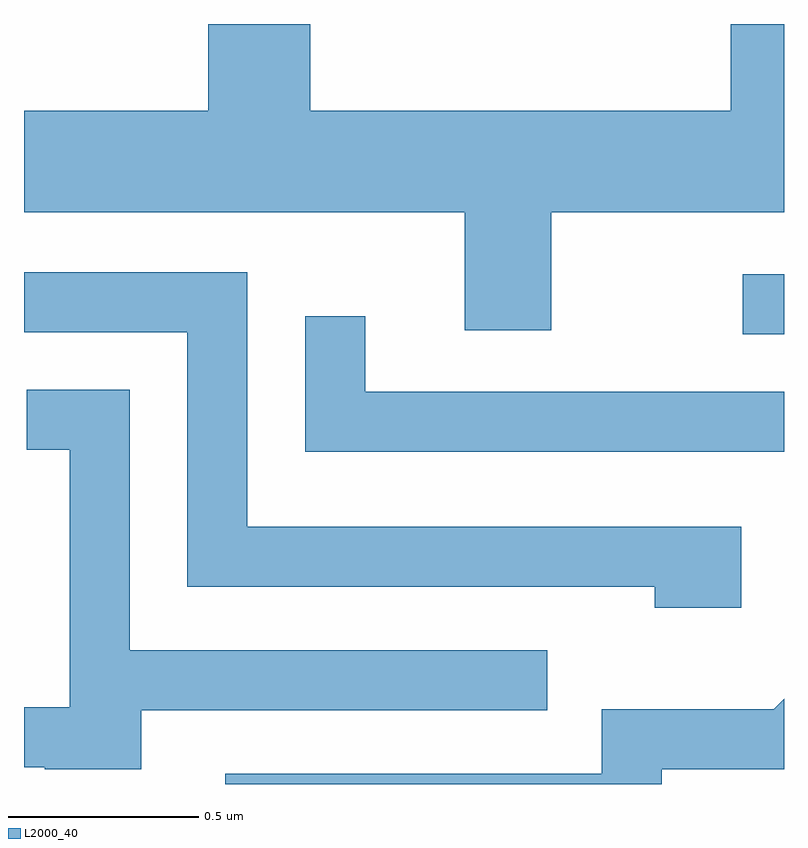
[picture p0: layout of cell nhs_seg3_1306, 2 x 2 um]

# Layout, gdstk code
import gdstk
lib = gdstk.Library(unit=1e-6, precision=1e-09)
def R(c, l, rs):  # rectangles x0, y0, x1, y1
    for r in rs: c.add(gdstk.rectangle(r[:2], r[2:], *l))
def P(c, l, *ps):  # polygons
    for p in ps: c.add(gdstk.Polygon(p, *l))
L2000_40 = (2000, 40)

nhs_seg3_1306 = lib.new_cell('nhs_seg3_1306')
R(nhs_seg3_1306, L2000_40, [(196.503,1190.076,196.611,1190.234)])
P(nhs_seg3_1306, L2000_40, [(195.999,1190.396),(196.611,1190.396),(196.611,1190.892),(196.471,1190.892),(196.471,1190.664),(195.364,1190.664),(195.364,1190.892),(195.096,1190.892),(195.096,1190.664),(194.611,1190.664),(194.611,1190.396),(195.771,1190.396),(195.771,1190.086),(195.999,1190.086)],
  [(196.499,1189.569),(195.199,1189.569),(195.199,1190.239),(194.611,1190.239),(194.611,1190.081),(195.041,1190.081),(195.041,1189.411),(196.271,1189.411),(196.271,1189.356),(196.499,1189.356)],
  [(196.611,1189.924),(195.509,1189.924),(195.509,1190.123),(195.351,1190.123),(195.351,1189.766),(196.611,1189.766)],
  [(194.919,1189.086),(195.988,1189.086),(195.988,1189.244),(194.889,1189.244),(194.889,1189.929),(194.618,1189.929),(194.618,1189.771),(194.731,1189.771),(194.731,1189.094),(194.611,1189.094),(194.611,1188.936),(194.665,1188.936),(194.665,1188.931),(194.919,1188.931)],
  [(196.289,1188.931),(196.611,1188.931),(196.611,1189.116),(196.584,1189.089),(196.131,1189.089),(196.131,1188.919),(195.141,1188.919),(195.141,1188.892),(196.289,1188.892)])

lib.write_gds('nhs_seg3_1306.gds')
